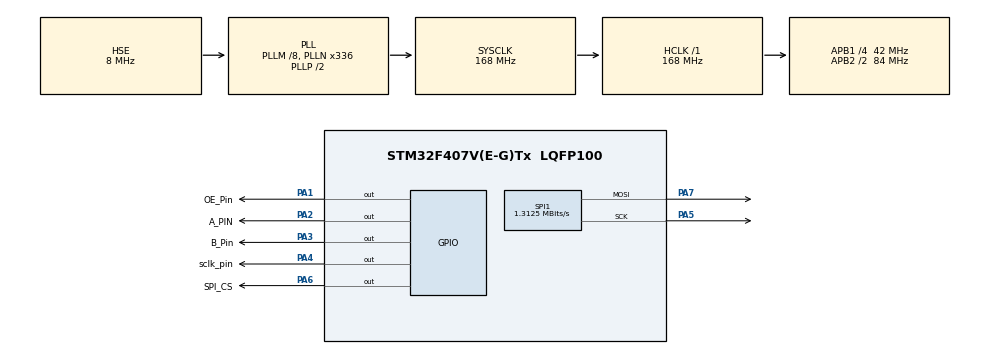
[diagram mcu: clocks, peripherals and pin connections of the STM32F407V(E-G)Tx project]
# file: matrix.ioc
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Mcu.Family=STM32F4
Mcu.Name=STM32F407V(E-G)Tx
Mcu.Package=LQFP100
NVIC.PriorityGroup=NVIC_PRIORITYGROUP_0
NVIC.TIM2_IRQn=true\:0\:0\:false\:false\:true\:true\:true\:true
PA1.GPIO_Label=OE_Pin
PA1.Signal=GPIO_Output
PA13.Mode=Serial_Wire
PA13.Signal=SYS_JTMS-SWDIO
PA14.Mode=Serial_Wire
PA14.Signal=SYS_JTCK-SWCLK
PA2.GPIO_Label=A_PIN
PA2.GPIO_PuPd=GPIO_PULLDOWN
PA2.Signal=GPIO_Output
PA3.GPIO_Label=B_Pin
PA3.GPIO_PuPd=GPIO_PULLDOWN
PA3.Signal=GPIO_Output
PA4.GPIO_Label=sclk_pin
PA4.GPIO_PuPd=GPIO_PULLDOWN
PA4.Signal=GPIO_Output
PA5.Mode=TX_Only_Simplex_Unidirect_Master
PA5.Signal=SPI1_SCK
PA6.GPIO_Label=SPI_CS
PA6.GPIO_PuPd=GPIO_PULLDOWN
PA6.PinState=GPIO_PIN_SET
PA6.Signal=GPIO_Output
PA7.Mode=TX_Only_Simplex_Unidirect_Master
PA7.Signal=SPI1_MOSI
PH0-OSC_IN.Mode=HSE-External-Oscillator
PH0-OSC_IN.Signal=RCC_OSC_IN
PH1-OSC_OUT.Mode=HSE-External-Oscillator
PH1-OSC_OUT.Signal=RCC_OSC_OUT
ProjectManager.HeapSize=0x200
ProjectManager.StackSize=0x400
ProjectManager.TargetToolchain=STM32CubeIDE
RCC.48MHZClocksFreq_Value=48000000
RCC.AHBFreq_Value=168000000
RCC.APB1CLKDivider=RCC_HCLK_DIV4
RCC.APB1Freq_Value=42000000
RCC.APB1TimFreq_Value=84000000
RCC.APB2CLKDivider=RCC_HCLK_DIV2
RCC.APB2Freq_Value=84000000
RCC.APB2TimFreq_Value=168000000
RCC.CortexFreq_Value=168000000
RCC.HCLKFreq_Value=168000000
RCC.HSE_VALUE=8000000
RCC.HSI_VALUE=16000000
RCC.LSE_VALUE=32768
RCC.PLLM=8
RCC.PLLN=336
RCC.PLLQ=7
RCC.PLLSourceVirtual=RCC_PLLSOURCE_HSE
RCC.SYSCLKFreq_VALUE=168000000
RCC.SYSCLKSource=RCC_SYSCLKSOURCE_PLLCLK
RCC.VCOOutputFreq_Value=336000000
SPI1.BaudRatePrescaler=SPI_BAUDRATEPRESCALER_64
SPI1.CalculateBaudRate=1.3125 MBits/s
SPI1.Direction=SPI_DIRECTION_2LINES
SPI1.Mode=SPI_MODE_MASTER
SPI1.VirtualType=VM_MASTER
TIM2.Period=10000
TIM2.Prescaler=8400
VP_TIM2_VS_ClockSourceINT.Mode=Internal
board=STM32F407G-DISC1

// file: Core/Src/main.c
/* USER CODE BEGIN Header */
/**
  ******************************************************************************
  * @file           : main.c
  * @brief          : Main program body
  ******************************************************************************
  * @attention
  *
  * Copyright (c) 2023 STMicroelectronics.
  * All rights reserved.
  *
  * This software is licensed under terms that can be found in the LICENSE file
  * in the root directory of this software component.
  * If no LICENSE file comes with this software, it is provided AS-IS.
  *
  ******************************************************************************
  */
/* USER CODE END Header */
#include "main.h"

/* USER CODE BEGIN Includes */
#include "string.h"
#include "stdio.h"
#include "stdlib.h"
#include"stdbool.h"
#include"Arial14.h"
#include "SystemFont5x7.h"
#include "Arial_Black_16TR.h"
#include "Arial_Black_16_ISO_8859_1.h"
#include "Arial_black_16.h"
#include "DMD.h"
/* USER CODE END Includes */

/* USER CODE BEGIN PTD */

#define NOISE_SDADC_CHANNEL SDADC_CHANNEL_6
#define MOVING_AVERAGE_SIZE 125
#define SDADC_GAIN SDADC_GAIN_1+1
/* USER CODE END PTD */

/* USER CODE BEGIN PD */
void display_MAIN_MODE();
void display_HRNG_MODE(void);
void display_LRNG_MODE();
void display_DP_MODE();
void display_DP_PLACE_MODE();
void display_FINISH_MODE();
void display_R2_RANGE_MODE();
void display_R1_RANGE_MODE();
void display_R2_DISPLAY_MODE();
void display_R1_DISPLAY_MODE();
void display_HIGHRANGE_MODE();
void Board_intialization_display();
void display_RC_MODE();
void display_RC_R1_MODE();
void display_RC_R2_MODE();
void display_PASS_ENTER_MODE();
void display_PASS_MODE();
void display_R1_DELAY_DISPLAY_MODE();
void display_R2_DELAY_DISPLAY_MODE();
void display_R1_DELAY_MODE();
void display_R2_DELAY_MODE();
void display_LOWRANGE_MODE();
void relay1_turn_on();
void relay2_turn_on();
void display_delay_MODE();
typedef enum {
	MAIN_MODE = 0,
	PASS_DISPLAY_MODE,
	PASS_ENTER_MODE,
	HRNG_DISPLAY_MODE,
	HIGH_RANGE_MODE,
	LRNG_DISPLAY_MODE,
	LOW_RANGE_MODE,
	DP_DISPLAY_MODE,
	DP_PLACE_MODE,
	R1_DISPLAY_MODE,
	R1_RANGE_MODE,
	DELAY_DISPLAY_MODE,
	R1_DELAY_DISPLAY_MODE,
	R1_DELAY_MODE,
	R2_DISPLAY_MODE,
	R2_RANGE_MODE,
	R2_DELAY_DISPLAY_MODE,
	R2_DELAY_MODE,
	RC_DISPLAY_MODE,
	RC_R1_RANGE_MODE,
	RC_R2_RANGE_MODE,
	RC_R1_DISPLAY_MODE,
	RC_R2_DISPLAY_MODE,
	FINISH_DISPLAY_MODE
}APPLICATION_MODE;

APPLICATION_MODE App_Mode = MAIN_MODE;
/* USER CODE END PD */

SPI_HandleTypeDef hspi1;

TIM_HandleTypeDef htim2;

void SystemClock_Config(void);
static void MX_GPIO_Init(void);
static void MX_SPI1_Init(void);
static void MX_TIM2_Init(void);
/* USER CODE BEGIN PFP */

/* USER CODE END 0 */

/**
  * @brief  The application entry point.
  * @retval int
  *
  */

/* USER CODE END PFP */

int main(void)
{

  /* MCU Configuration--------------------------------------------------------*/

  /* Reset of all peripherals, Initializes the Flash interface and the Systick. */
  HAL_Init();

  /* Configure the system clock */
  SystemClock_Config();

  /* Initialize all configured peripherals */
  MX_GPIO_Init();
  MX_SPI1_Init();
  MX_TIM2_Init();

  /* Infinite loop */
  /* USER CODE BEGIN WHILE */
  DMD(1, 1); //  DMD(uint8_t panelsWide, uint8_t panelsHigh)

  clearScreen(true);
  selectFont(Arial_Black_16);
  // HAL_TIM_Base_Start_IT(&htim2);
  while (1)
  {
    /* USER CODE END WHILE */

    /* USER CODE BEGIN 3 */
//drawFilledBox(0, 0, 12, 12, GRAPHICS_NORMAL);
//	  drawChar(0, 0, 'a', GRAPHICS_NORMAL);
//selectFont(System5x7);
drawString(0,0, "UTEH", 4, GRAPHICS_NORMAL);
//   drawString(0,9, "STR", 3, GRAPHICS_NORMAL);
	  scanDisplayBySPI();

  }
  /* USER CODE END 3 */
}

void SystemClock_Config(void)
{
  RCC_OscInitTypeDef RCC_OscInitStruct = {0};
  RCC_ClkInitTypeDef RCC_ClkInitStruct = {0};

  /** Configure the main internal regulator output voltage
  */
  __HAL_RCC_PWR_CLK_ENABLE();
  __HAL_PWR_VOLTAGESCALING_CONFIG(PWR_REGULATOR_VOLTAGE_SCALE1);

  /** Initializes the RCC Oscillators according to the specified parameters
  * in the RCC_OscInitTypeDef structure.
  */
  RCC_OscInitStruct.OscillatorType = RCC_OSCILLATORTYPE_HSE;
  RCC_OscInitStruct.HSEState = RCC_HSE_ON;
  RCC_OscInitStruct.PLL.PLLState = RCC_PLL_ON;
  RCC_OscInitStruct.PLL.PLLSource = RCC_PLLSOURCE_HSE;
  RCC_OscInitStruct.PLL.PLLM = 8;
  RCC_OscInitStruct.PLL.PLLN = 336;
  RCC_OscInitStruct.PLL.PLLP = RCC_PLLP_DIV2;
  RCC_OscInitStruct.PLL.PLLQ = 7;
  if (HAL_RCC_OscConfig(&RCC_OscInitStruct) != HAL_OK)
  {
    Error_Handler();
  }

  /** Initializes the CPU, AHB and APB buses clocks
  */
  RCC_ClkInitStruct.ClockType = RCC_CLOCKTYPE_HCLK|RCC_CLOCKTYPE_SYSCLK
                              |RCC_CLOCKTYPE_PCLK1|RCC_CLOCKTYPE_PCLK2;
  RCC_ClkInitStruct.SYSCLKSource = RCC_SYSCLKSOURCE_PLLCLK;
  RCC_ClkInitStruct.AHBCLKDivider = RCC_SYSCLK_DIV1;
  RCC_ClkInitStruct.APB1CLKDivider = RCC_HCLK_DIV4;
  RCC_ClkInitStruct.APB2CLKDivider = RCC_HCLK_DIV2;

  if (HAL_RCC_ClockConfig(&RCC_ClkInitStruct, FLASH_LATENCY_5) != HAL_OK)
  {
    Error_Handler();
  }
}

static void MX_SPI1_Init(void)
{

  /* SPI1 parameter configuration*/
  hspi1.Instance = SPI1;
  hspi1.Init.Mode = SPI_MODE_MASTER;
  hspi1.Init.Direction = SPI_DIRECTION_2LINES;
  hspi1.Init.DataSize = SPI_DATASIZE_8BIT;
  hspi1.Init.CLKPolarity = SPI_POLARITY_LOW;
  hspi1.Init.CLKPhase = SPI_PHASE_1EDGE;
  hspi1.Init.NSS = SPI_NSS_SOFT;
  hspi1.Init.BaudRatePrescaler = SPI_BAUDRATEPRESCALER_64;
  hspi1.Init.FirstBit = SPI_FIRSTBIT_MSB;
  hspi1.Init.TIMode = SPI_TIMODE_DISABLE;
  hspi1.Init.CRCCalculation = SPI_CRCCALCULATION_DISABLE;
  hspi1.Init.CRCPolynomial = 10;
  if (HAL_SPI_Init(&hspi1) != HAL_OK)
  {
    Error_Handler();
  }

}

static void MX_TIM2_Init(void)
{

  TIM_ClockConfigTypeDef sClockSourceConfig = {0};
  TIM_MasterConfigTypeDef sMasterConfig = {0};

  htim2.Instance = TIM2;
  htim2.Init.Prescaler = 8400;
  htim2.Init.CounterMode = TIM_COUNTERMODE_UP;
  htim2.Init.Period = 10000;
  htim2.Init.ClockDivision = TIM_CLOCKDIVISION_DIV1;
  htim2.Init.AutoReloadPreload = TIM_AUTORELOAD_PRELOAD_DISABLE;
  if (HAL_TIM_Base_Init(&htim2) != HAL_OK)
  {
    Error_Handler();
  }
  sClockSourceConfig.ClockSource = TIM_CLOCKSOURCE_INTERNAL;
  if (HAL_TIM_ConfigClockSource(&htim2, &sClockSourceConfig) != HAL_OK)
  {
    Error_Handler();
  }
  sMasterConfig.MasterOutputTrigger = TIM_TRGO_RESET;
  sMasterConfig.MasterSlaveMode = TIM_MASTERSLAVEMODE_DISABLE;
  if (HAL_TIMEx_MasterConfigSynchronization(&htim2, &sMasterConfig) != HAL_OK)
  {
    Error_Handler();
  }

}

static void MX_GPIO_Init(void)
{
  GPIO_InitTypeDef GPIO_InitStruct = {0};

  /* GPIO Ports Clock Enable */
  __HAL_RCC_GPIOH_CLK_ENABLE();
  __HAL_RCC_GPIOA_CLK_ENABLE();

  /*Configure GPIO pin Output Level */
  HAL_GPIO_WritePin(GPIOA, OE_Pin_Pin|A_PIN_Pin|B_Pin_Pin|sclk_pin_Pin, GPIO_PIN_RESET);

  /*Configure GPIO pin Output Level */
  HAL_GPIO_WritePin(SPI_CS_GPIO_Port, SPI_CS_Pin, GPIO_PIN_SET);

  /*Configure GPIO pin : OE_Pin_Pin */
  GPIO_InitStruct.Pin = OE_Pin_Pin;
  GPIO_InitStruct.Mode = GPIO_MODE_OUTPUT_PP;
  GPIO_InitStruct.Pull = GPIO_NOPULL;
  GPIO_InitStruct.Speed = GPIO_SPEED_FREQ_LOW;
  HAL_GPIO_Init(OE_Pin_GPIO_Port, &GPIO_InitStruct);

  /*Configure GPIO pins : A_PIN_Pin B_Pin_Pin sclk_pin_Pin SPI_CS_Pin */
  GPIO_InitStruct.Pin = A_PIN_Pin|B_Pin_Pin|sclk_pin_Pin|SPI_CS_Pin;
  GPIO_InitStruct.Mode = GPIO_MODE_OUTPUT_PP;
  GPIO_InitStruct.Pull = GPIO_PULLDOWN;
  GPIO_InitStruct.Speed = GPIO_SPEED_FREQ_LOW;
  HAL_GPIO_Init(GPIOA, &GPIO_InitStruct);

}

/* USER CODE BEGIN 4 */
void HAL_TIM_PeriodElapsedCallback(TIM_HandleTypeDef *htim)
{
scanDisplayBySPI();
}
/* USER CODE END 4 */

void Error_Handler(void)
{
  __disable_irq();
  while (1)
  {
  }
}
